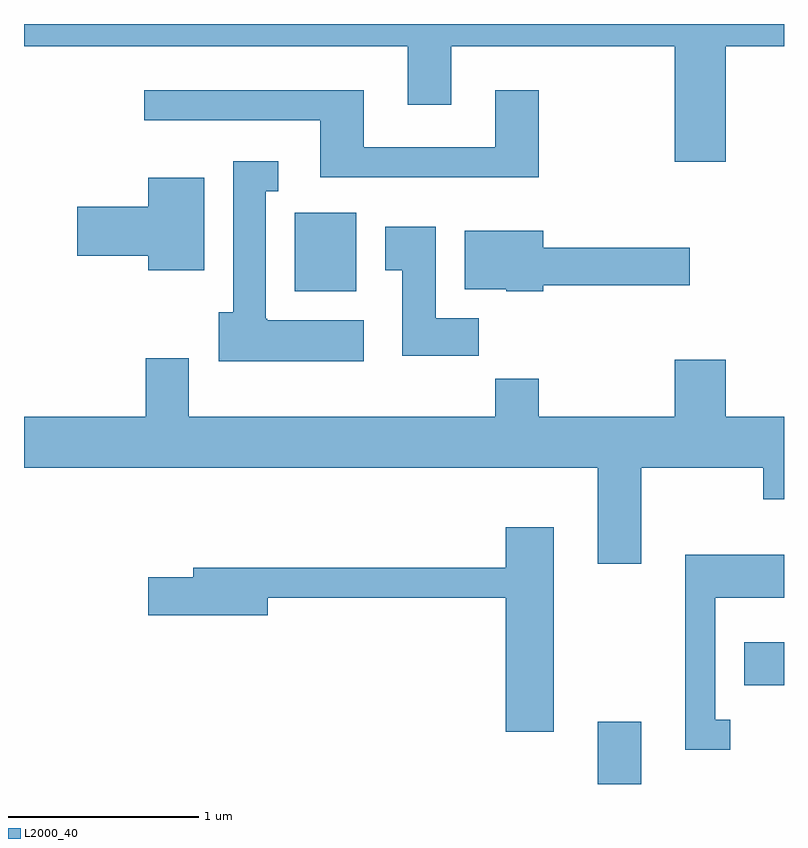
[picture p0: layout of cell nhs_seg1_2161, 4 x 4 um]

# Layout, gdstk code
import gdstk
lib = gdstk.Library(unit=1e-6, precision=1e-09)
def R(c, l, rs):  # rectangles x0, y0, x1, y1
    for r in rs: c.add(gdstk.rectangle(r[:2], r[2:], *l))
def P(c, l, *ps):  # polygons
    for p in ps: c.add(gdstk.Polygon(p, *l))
L2000_40 = (2000, 40)

nhs_seg1_2161 = lib.new_cell('nhs_seg1_2161')
R(nhs_seg1_2161, L2000_40, [(254.631,875.712,254.859,876.039), (255.401,876.231,255.611,876.459), (253.036,878.306,253.359,878.719)])
P(nhs_seg1_2161, L2000_40, [(255.304,879.596),(255.611,879.596),(255.611,879.712),(251.611,879.712),(251.611,879.596),(253.631,879.596),(253.631,879.286),(253.859,879.286),(253.859,879.596),(255.036,879.596),(255.036,878.986),(255.304,878.986)],
  [(254.319,879.364),(254.091,879.364),(254.091,879.064),(253.399,879.064),(253.399,879.364),(252.243,879.364),(252.243,879.206),(253.171,879.206),(253.171,878.906),(254.319,878.906)],
  [(253.399,878.154),(252.89,878.154),(252.89,878.16),(252.884,878.16),(252.884,878.831),(252.948,878.831),(252.948,878.989),(252.711,878.989),(252.711,878.194),(252.636,878.194),(252.636,877.936),(253.399,877.936)],
  [(252.559,878.904),(252.266,878.904),(252.266,878.749),(251.891,878.749),(251.891,878.491),(252.266,878.491),(252.266,878.416),(252.559,878.416)],
  [(254.004,878.164),(253.779,878.164),(253.779,878.644),(253.511,878.644),(253.511,878.416),(253.601,878.416),(253.601,877.966),(254.004,877.966)],
  [(254.344,878.336),(255.114,878.336),(255.114,878.534),(254.344,878.534),(254.344,878.624),(253.931,878.624),(253.931,878.316),(254.15,878.316),(254.15,878.306),(254.344,878.306)],
  [(255.501,877.211),(255.611,877.211),(255.611,877.644),(255.304,877.644),(255.304,877.944),(255.036,877.944),(255.036,877.644),(254.319,877.644),(254.319,877.844),(254.091,877.844),(254.091,877.644),(252.479,877.644),(252.479,877.954),(252.251,877.954),(252.251,877.644),(251.611,877.644),(251.611,877.376),(254.631,877.376),(254.631,876.871),(254.859,876.871),(254.859,877.376),(255.501,877.376)],
  [(254.399,877.064),(254.146,877.064),(254.146,876.849),(252.501,876.849),(252.501,876.799),(252.266,876.799),(252.266,876.601),(252.894,876.601),(252.894,876.691),(254.146,876.691),(254.146,875.986),(254.399,875.986)],
  [(255.328,876.049),(255.249,876.049),(255.249,876.691),(255.611,876.691),(255.611,876.919),(255.091,876.919),(255.091,875.891),(255.328,875.891)])

lib.write_gds('nhs_seg1_2161.gds')
